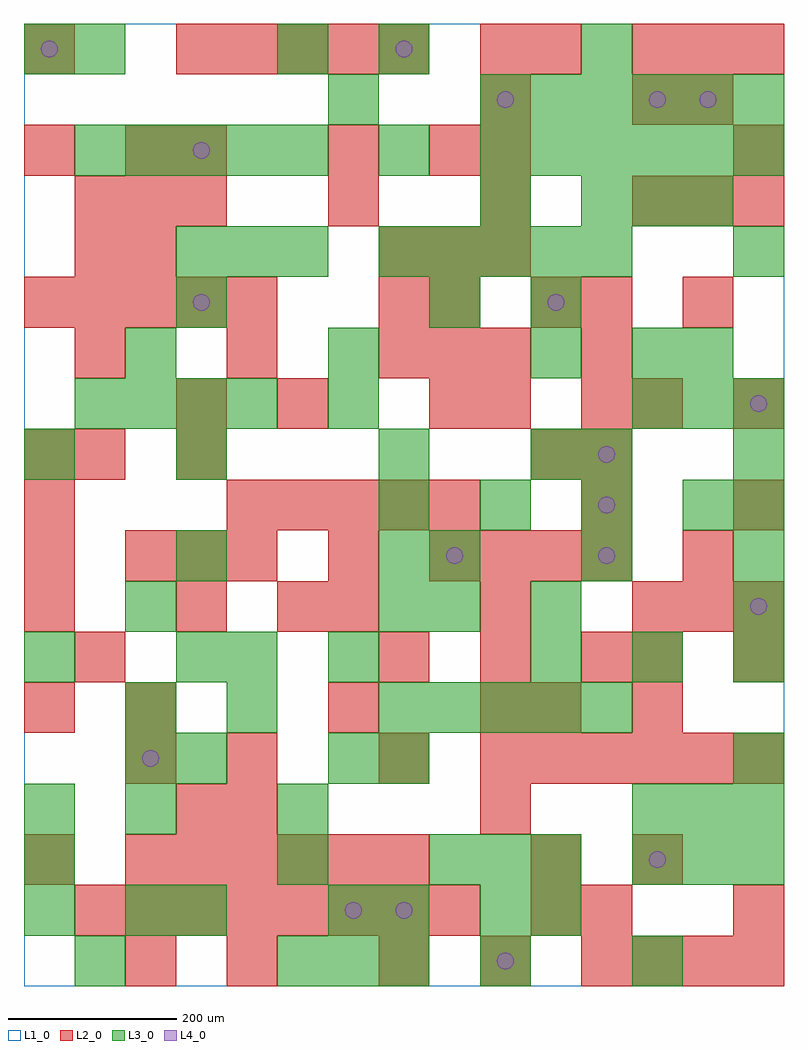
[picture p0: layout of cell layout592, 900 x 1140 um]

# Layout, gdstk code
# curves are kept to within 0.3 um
import gdstk
lib = gdstk.Library(unit=1e-6, precision=1e-09)
def R(c, l, rs):  # rectangles x0, y0, x1, y1
    for r in rs: c.add(gdstk.rectangle(r[:2], r[2:], *l))
def A(c, l, x, y, w, h, nx, ny, dx, dy):  # array of equal rectangles
    R(c, l, [(x+i*dx, y+j*dy, x+i*dx+w, y+j*dy+h) for i in range(nx) for j in range(ny)])
def P(c, l, *ps):  # polygons
    for p in ps: c.add(gdstk.Polygon(p, *l))
L1_0 = (1, 0)
L2_0 = (2, 0)
L3_0 = (3, 0)
L4_0 = (4, 0)

layout592 = lib.new_cell('layout592')
R(layout592, L1_0, [(0,0,900,1140)])
A(layout592, L2_0, 420, 0, 60, 60, 3, 2, 120, 360)
A(layout592, L2_0, 720, 0, 60, 60, 3, 2, 60, 1080)
A(layout592, L2_0, 60, 60, 60, 60, 8, 1, 60, 0)
A(layout592, L2_0, 120, 120, 60, 60, 6, 1, 60, 0)
A(layout592, L2_0, 540, 240, 60, 60, 6, 1, 60, 0)
A(layout592, L2_0, 60, 360, 60, 60, 1, 3, 0, 240)
A(layout592, L2_0, 0, 420, 60, 60, 1, 4, 0, 60)
A(layout592, L2_0, 360, 420, 60, 60, 3, 2, 180, 480)
A(layout592, L2_0, 840, 420, 60, 60, 1, 3, 0, 120)
A(layout592, L2_0, 120, 480, 60, 60, 3, 1, 60, 0)
A(layout592, L2_0, 480, 480, 60, 60, 4, 1, 60, 0)
A(layout592, L2_0, 240, 540, 60, 60, 5, 1, 60, 0)
A(layout592, L2_0, 660, 540, 60, 60, 1, 5, 0, 60)
A(layout592, L2_0, 480, 660, 60, 60, 1, 3, 0, 60)
A(layout592, L2_0, 60, 720, 60, 60, 3, 1, 180, 0)
A(layout592, L2_0, 0, 780, 60, 60, 5, 1, 60, 0)
A(layout592, L2_0, 780, 780, 60, 60, 1, 3, 0, 120)
A(layout592, L2_0, 420, 840, 60, 60, 3, 1, 60, 0)
A(layout592, L2_0, 60, 900, 60, 60, 3, 1, 60, 0)
A(layout592, L2_0, 540, 960, 60, 60, 1, 3, 0, 60)
A(layout592, L2_0, 180, 1080, 60, 60, 5, 1, 60, 0)
R(layout592, L2_0, [(120,0,180,60), (240,0,300,60), (600,60,660,120), (660,60,720,120), (840,60,900,120), (0,120,60,180), (600,120,660,180), (720,120,780,180), (180,180,240,240), (240,180,300,240), (540,180,600,240), (120,240,180,300), (240,240,300,300), (420,240,480,300), (0,300,60,360), (120,300,180,360), (360,300,420,360), (540,300,600,360), (600,300,660,360), (720,300,780,360), (720,360,780,420), (840,360,900,420), (180,420,240,480), (300,420,360,480), (780,420,840,480), (360,480,420,540), (780,480,840,540), (180,600,240,660), (600,600,660,660), (180,660,240,720), (300,660,360,720), (540,660,600,720), (720,660,780,720), (540,720,600,780), (420,780,480,840), (600,780,660,840), (120,840,180,900), (840,900,900,960), (0,960,60,1020), (120,960,180,1020), (180,960,240,1020), (360,960,420,1020), (480,960,540,1020), (840,960,900,1020), (720,1020,780,1080), (0,1080,60,1140), (600,1080,660,1140)])
A(layout592, L3_0, 300, 0, 60, 60, 3, 1, 60, 0)
A(layout592, L3_0, 0, 60, 60, 60, 1, 3, 0, 60)
A(layout592, L3_0, 420, 60, 60, 60, 1, 3, 0, 180)
A(layout592, L3_0, 480, 120, 60, 60, 3, 1, 60, 0)
A(layout592, L3_0, 720, 120, 60, 60, 3, 2, 60, 60)
A(layout592, L3_0, 120, 180, 60, 60, 1, 3, 0, 60)
A(layout592, L3_0, 180, 240, 60, 60, 1, 4, 0, 120)
A(layout592, L3_0, 420, 300, 60, 60, 5, 2, 60, 540)
A(layout592, L3_0, 600, 360, 60, 60, 3, 1, 120, 0)
A(layout592, L3_0, 600, 420, 60, 60, 1, 3, 0, 180)
A(layout592, L3_0, 480, 480, 60, 60, 3, 1, 180, 0)
A(layout592, L3_0, 420, 540, 60, 60, 4, 1, 120, 0)
A(layout592, L3_0, 60, 660, 60, 60, 4, 1, 60, 0)
A(layout592, L3_0, 720, 660, 60, 60, 3, 1, 60, 0)
A(layout592, L3_0, 120, 720, 60, 60, 3, 1, 240, 0)
A(layout592, L3_0, 180, 840, 60, 60, 3, 1, 60, 0)
A(layout592, L3_0, 660, 900, 60, 60, 3, 1, 60, 0)
A(layout592, L3_0, 60, 960, 60, 60, 5, 1, 60, 0)
A(layout592, L3_0, 540, 960, 60, 60, 6, 2, 60, 60)
R(layout592, L3_0, [(60,0,120,60), (540,0,600,60), (720,0,780,60), (120,60,180,120), (180,60,240,120), (360,60,420,120), (540,60,600,120), (600,60,660,120), (300,120,360,180), (300,180,360,240), (360,240,420,300), (840,240,900,300), (240,300,300,360), (0,360,60,420), (240,360,300,420), (360,360,420,420), (120,420,180,480), (480,420,540,480), (840,420,900,480), (420,480,480,540), (840,540,900,600), (0,600,60,660), (420,600,480,660), (660,600,720,660), (840,600,900,660), (360,660,420,720), (720,720,780,780), (780,720,840,780), (180,780,240,840), (480,780,540,840), (840,840,900,900), (540,900,600,960), (420,960,480,1020), (360,1020,420,1080), (0,1080,60,1140), (60,1080,120,1140), (300,1080,360,1140), (420,1080,480,1140), (660,1080,720,1140)])
P(layout592, L4_0, [(40,1110),(39.239,1113.827),(37.071,1117.071),(33.827,1119.239),(30,1120),(26.173,1119.239),(22.929,1117.071),(20.761,1113.827),(20,1110),(20.761,1106.173),(22.929,1102.929),(26.173,1100.761),(30,1100),(33.827,1100.761),(37.071,1102.929),(39.239,1106.173)],
  [(160,270),(159.239,273.827),(157.071,277.071),(153.827,279.239),(150,280),(146.173,279.239),(142.929,277.071),(140.761,273.827),(140,270),(140.761,266.173),(142.929,262.929),(146.173,260.761),(150,260),(153.827,260.761),(157.071,262.929),(159.239,266.173)],
  [(220,810),(219.239,813.827),(217.071,817.071),(213.827,819.239),(210,820),(206.173,819.239),(202.929,817.071),(200.761,813.827),(200,810),(200.761,806.173),(202.929,802.929),(206.173,800.761),(210,800),(213.827,800.761),(217.071,802.929),(219.239,806.173)],
  [(220,990),(219.239,993.827),(217.071,997.071),(213.827,999.239),(210,1000),(206.173,999.239),(202.929,997.071),(200.761,993.827),(200,990),(200.761,986.173),(202.929,982.929),(206.173,980.761),(210,980),(213.827,980.761),(217.071,982.929),(219.239,986.173)],
  [(400,90),(399.239,93.827),(397.071,97.071),(393.827,99.239),(390,100),(386.173,99.239),(382.929,97.071),(380.761,93.827),(380,90),(380.761,86.173),(382.929,82.929),(386.173,80.761),(390,80),(393.827,80.761),(397.071,82.929),(399.239,86.173)],
  [(460,90),(459.239,93.827),(457.071,97.071),(453.827,99.239),(450,100),(446.173,99.239),(442.929,97.071),(440.761,93.827),(440,90),(440.761,86.173),(442.929,82.929),(446.173,80.761),(450,80),(453.827,80.761),(457.071,82.929),(459.239,86.173)],
  [(460,1110),(459.239,1113.827),(457.071,1117.071),(453.827,1119.239),(450,1120),(446.173,1119.239),(442.929,1117.071),(440.761,1113.827),(440,1110),(440.761,1106.173),(442.929,1102.929),(446.173,1100.761),(450,1100),(453.827,1100.761),(457.071,1102.929),(459.239,1106.173)],
  [(520,510),(519.239,513.827),(517.071,517.071),(513.827,519.239),(510,520),(506.173,519.239),(502.929,517.071),(500.761,513.827),(500,510),(500.761,506.173),(502.929,502.929),(506.173,500.761),(510,500),(513.827,500.761),(517.071,502.929),(519.239,506.173)],
  [(580,30),(579.239,33.827),(577.071,37.071),(573.827,39.239),(570,40),(566.173,39.239),(562.929,37.071),(560.761,33.827),(560,30),(560.761,26.173),(562.929,22.929),(566.173,20.761),(570,20),(573.827,20.761),(577.071,22.929),(579.239,26.173)],
  [(580,1050),(579.239,1053.827),(577.071,1057.071),(573.827,1059.239),(570,1060),(566.173,1059.239),(562.929,1057.071),(560.761,1053.827),(560,1050),(560.761,1046.173),(562.929,1042.929),(566.173,1040.761),(570,1040),(573.827,1040.761),(577.071,1042.929),(579.239,1046.173)],
  [(640,810),(639.239,813.827),(637.071,817.071),(633.827,819.239),(630,820),(626.173,819.239),(622.929,817.071),(620.761,813.827),(620,810),(620.761,806.173),(622.929,802.929),(626.173,800.761),(630,800),(633.827,800.761),(637.071,802.929),(639.239,806.173)],
  [(700,510),(699.239,513.827),(697.071,517.071),(693.827,519.239),(690,520),(686.173,519.239),(682.929,517.071),(680.761,513.827),(680,510),(680.761,506.173),(682.929,502.929),(686.173,500.761),(690,500),(693.827,500.761),(697.071,502.929),(699.239,506.173)],
  [(700,570),(699.239,573.827),(697.071,577.071),(693.827,579.239),(690,580),(686.173,579.239),(682.929,577.071),(680.761,573.827),(680,570),(680.761,566.173),(682.929,562.929),(686.173,560.761),(690,560),(693.827,560.761),(697.071,562.929),(699.239,566.173)],
  [(700,630),(699.239,633.827),(697.071,637.071),(693.827,639.239),(690,640),(686.173,639.239),(682.929,637.071),(680.761,633.827),(680,630),(680.761,626.173),(682.929,622.929),(686.173,620.761),(690,620),(693.827,620.761),(697.071,622.929),(699.239,626.173)],
  [(760,150),(759.239,153.827),(757.071,157.071),(753.827,159.239),(750,160),(746.173,159.239),(742.929,157.071),(740.761,153.827),(740,150),(740.761,146.173),(742.929,142.929),(746.173,140.761),(750,140),(753.827,140.761),(757.071,142.929),(759.239,146.173)],
  [(760,1050),(759.239,1053.827),(757.071,1057.071),(753.827,1059.239),(750,1060),(746.173,1059.239),(742.929,1057.071),(740.761,1053.827),(740,1050),(740.761,1046.173),(742.929,1042.929),(746.173,1040.761),(750,1040),(753.827,1040.761),(757.071,1042.929),(759.239,1046.173)],
  [(820,1050),(819.239,1053.827),(817.071,1057.071),(813.827,1059.239),(810,1060),(806.173,1059.239),(802.929,1057.071),(800.761,1053.827),(800,1050),(800.761,1046.173),(802.929,1042.929),(806.173,1040.761),(810,1040),(813.827,1040.761),(817.071,1042.929),(819.239,1046.173)],
  [(880,450),(879.239,453.827),(877.071,457.071),(873.827,459.239),(870,460),(866.173,459.239),(862.929,457.071),(860.761,453.827),(860,450),(860.761,446.173),(862.929,442.929),(866.173,440.761),(870,440),(873.827,440.761),(877.071,442.929),(879.239,446.173)],
  [(880,690),(879.239,693.827),(877.071,697.071),(873.827,699.239),(870,700),(866.173,699.239),(862.929,697.071),(860.761,693.827),(860,690),(860.761,686.173),(862.929,682.929),(866.173,680.761),(870,680),(873.827,680.761),(877.071,682.929),(879.239,686.173)])

lib.write_gds('layout592.gds')
